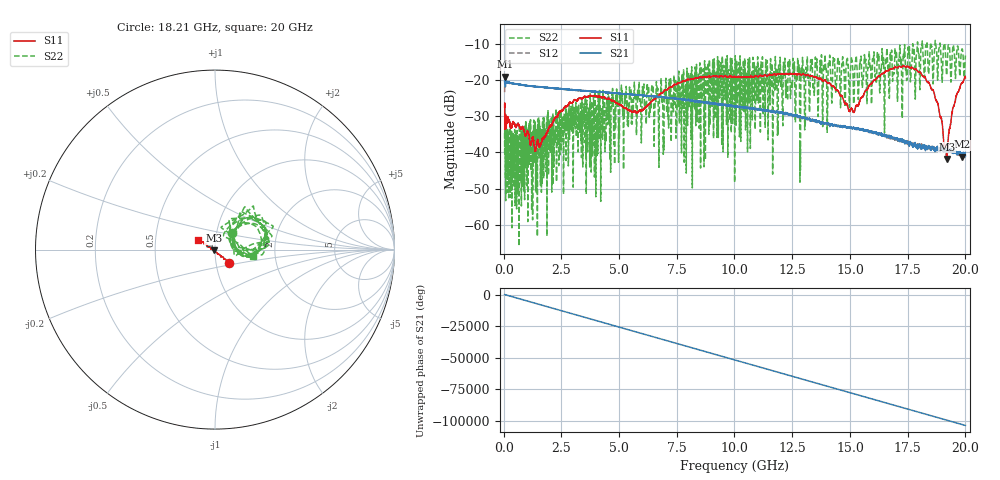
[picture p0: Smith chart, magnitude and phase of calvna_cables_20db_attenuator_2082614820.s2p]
!Agilent Technologies,E8364A,US41440322,A.04.87.01
!Agilent E8364A: A.04.87.01
!Date: Thursday, July 18, 2024 08:48:46
!Correction: S11(Full 2 Port SOLT,1,2) S21(Full 2 Port SOLT,1,2) S12(Full 2 Port SOLT,1,2) S22(Full 2 Port SOLT,1,2)
!S2P File: Measurements: S11, S21, S12, S22:
# Hz S  dB  R 50
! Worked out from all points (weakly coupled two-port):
!   6401 points, 45 MHz to 20 GHz, reference 50 ohm
!   highest |S21| = -19.12 dB at 57.47 MHz (marker M1); lowest = -41.1 dB at 19.86 GHz (marker M2)
!   lowest |S11| = -41.7 dB at 19.2 GHz (marker M3), VSWR 1.02, Z = 49.3 - j0.363 ohm
!   |S11| at or under -10 dB: start of sweep to end of sweep
!   |S22| runs from -65.8 to -9.1 dB; largest |S21 - S12| = 0.053
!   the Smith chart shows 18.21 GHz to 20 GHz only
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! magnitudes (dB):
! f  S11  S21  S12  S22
! 45 MHz  -26.8  -20.5  -23.4  -34.6
! 57.47 MHz  -31.1  -19.1  -19.7  -40.9
! 578.2 MHz  -32.5  -21.2  -21.2  -35.0
! 1.423 GHz  -37.9  -21.8  -21.8  -44.8
! 3.372 GHz  -25.2  -23.0  -23.0  -38.0
! 5.751 GHz  -29.0  -24.1  -24.1  -35.2
! 6.699 GHz  -24.4  -24.7  -24.7  -28.3
! 7.983 GHz  -19.9  -25.4  -25.6  -23.6
! 10.02 GHz  -19.1  -27.4  -27.3  -15.6
! 12.47 GHz  -18.3  -29.6  -29.7  -20.7
! 12.77 GHz  -18.4  -30.1  -29.9  -18.0
! 13.35 GHz  -18.9  -31.2  -31.0  -14.8
! 15.12 GHz  -28.5  -33.3  -33.3  -16.9
! 16.68 GHz  -17.4  -35.6  -35.8  -19.2
! 17.61 GHz  -16.7  -37.0  -37.3  -20.2
! 18.33 GHz  -20.4  -38.4  -38.4  -10.1
! 18.73 GHz  -25.6  -39.0  -38.8  -11.4
! 19.12 GHz  -38.2  -38.9  -39.3  -11.1
! 19.2 GHz  -41.7  -39.7  -39.5  -16.8
! 19.51 GHz  -26.9  -39.5  -39.6  -11.8
! 19.86 GHz  -20.8  -41.1  -40.5  -11.5
! 20 GHz  -19.4  -40.9  -40.9  -13.3
